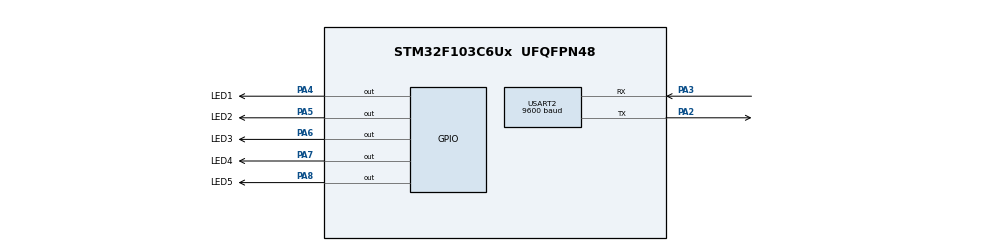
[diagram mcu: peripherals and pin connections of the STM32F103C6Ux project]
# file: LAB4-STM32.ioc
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Mcu.Family=STM32F1
Mcu.Name=STM32F103C6Ux
Mcu.Package=UFQFPN48
NVIC.PriorityGroup=NVIC_PRIORITYGROUP_4
NVIC.TIM2_IRQn=true\:0\:0\:false\:false\:true\:true\:true
NVIC.USART2_IRQn=true\:0\:0\:false\:false\:true\:true\:true
PA2.Mode=Asynchronous
PA2.Signal=USART2_TX
PA3.Mode=Asynchronous
PA3.Signal=USART2_RX
PA4.GPIO_Label=LED1
PA4.Signal=GPIO_Output
PA5.GPIO_Label=LED2
PA5.Signal=GPIO_Output
PA6.GPIO_Label=LED3
PA6.Signal=GPIO_Output
PA7.GPIO_Label=LED4
PA7.Signal=GPIO_Output
PA8.GPIO_Label=LED5
PA8.Signal=GPIO_Output
ProjectManager.HeapSize=0x200
ProjectManager.StackSize=0x400
ProjectManager.TargetToolchain=STM32CubeIDE
RCC.APB1Freq_Value=8000000
RCC.APB2Freq_Value=8000000
TIM2.Period=9
TIM2.Prescaler=7999
USART2.BaudRate=9600
USART2.VirtualMode=VM_ASYNC
VP_SYS_VS_ND.Mode=No_Debug
VP_TIM2_VS_ClockSourceINT.Mode=Internal
board=custom

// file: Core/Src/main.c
/* USER CODE BEGIN Header */
/**
  ******************************************************************************
  * @file           : main.c
  * @brief          : Main program body
  ******************************************************************************
  * @attention
  *
  * <h2><center>&copy; Copyright (c) 2022 STMicroelectronics.
  * All rights reserved.</center></h2>
  *
  * This software component is licensed by ST under BSD 3-Clause license,
  * the "License"; You may not use this file except in compliance with the
  * License. You may obtain a copy of the License at:
  *                        opensource.org/licenses/BSD-3-Clause
  *
  ******************************************************************************
  */
/* USER CODE END Header */
#include "main.h"

/* USER CODE BEGIN Includes */
#include <stdint.h>
#include "global.h"
/* USER CODE END Includes */

TIM_HandleTypeDef htim2;

UART_HandleTypeDef huart2;

void SystemClock_Config(void);
static void MX_TIM2_Init(void);
static void MX_GPIO_Init(void);
static void MX_USART2_UART_Init(void);

/* USER CODE BEGIN 0 */
void led_test_1() {
	HAL_GPIO_TogglePin(GPIOA, LED1_Pin);
}
void led_test_2() {
	HAL_GPIO_TogglePin(GPIOA, LED2_Pin);
}
void led_test_3() {
	HAL_GPIO_TogglePin(GPIOA, LED3_Pin);
}
void led_test_4() {
	HAL_GPIO_TogglePin(GPIOA, LED4_Pin);
}
void led_test_5() {
	HAL_GPIO_TogglePin(GPIOA, LED5_Pin);
}
void HAL_UART_RxCpltCallback(UART_HandleTypeDef *huart) {
	if (huart->Instance == USART2) {
		//uart_init();
	}
}
int TIME = 0;
/* USER CODE END 0 */

int main(void)
{

  /* MCU Configuration--------------------------------------------------------*/

  /* Reset of all peripherals, Initializes the Flash interface and the Systick. */
  HAL_Init();

  /* Configure the system clock */
  SystemClock_Config();

  /* Initialize all configured peripherals */
  MX_TIM2_Init();
  MX_GPIO_Init();
  MX_USART2_UART_Init();
  /* USER CODE BEGIN 2 */
  HAL_TIM_Base_Start_IT(&htim2);
  /* USER CODE END 2 */

  /* Infinite loop */
  /* USER CODE BEGIN WHILE */
  SCH_Init();
  uart_init();
  SCH_Add_Task(led_test_1, 50, 50);
  SCH_Add_Task(led_test_2, 100, 100);
  SCH_Add_Task(led_test_3, 150, 150);
  SCH_Add_Task(led_test_4, 200, 200);
  SCH_Add_Task(led_test_5, 250, 0);	//This is one-shot task
  SCH_Add_Task(get_time, 0, 50);
  SCH_Add_Task(get_time_2, 0, 10);
  TIME = 0;
  while (1)
  {
    /* USER CODE END WHILE */

    /* USER CODE BEGIN 3 */
	  SCH_Dispatch_Tasks();
  }
  /* USER CODE END 3 */
}

void SystemClock_Config(void)
{
  RCC_OscInitTypeDef RCC_OscInitStruct = {0};
  RCC_ClkInitTypeDef RCC_ClkInitStruct = {0};

  /** Initializes the RCC Oscillators according to the specified parameters
  * in the RCC_OscInitTypeDef structure.
  */
  RCC_OscInitStruct.OscillatorType = RCC_OSCILLATORTYPE_HSI;
  RCC_OscInitStruct.HSIState = RCC_HSI_ON;
  RCC_OscInitStruct.HSICalibrationValue = RCC_HSICALIBRATION_DEFAULT;
  RCC_OscInitStruct.PLL.PLLState = RCC_PLL_NONE;
  if (HAL_RCC_OscConfig(&RCC_OscInitStruct) != HAL_OK)
  {
    Error_Handler();
  }
  /** Initializes the CPU, AHB and APB buses clocks
  */
  RCC_ClkInitStruct.ClockType = RCC_CLOCKTYPE_HCLK|RCC_CLOCKTYPE_SYSCLK
                              |RCC_CLOCKTYPE_PCLK1|RCC_CLOCKTYPE_PCLK2;
  RCC_ClkInitStruct.SYSCLKSource = RCC_SYSCLKSOURCE_HSI;
  RCC_ClkInitStruct.AHBCLKDivider = RCC_SYSCLK_DIV1;
  RCC_ClkInitStruct.APB1CLKDivider = RCC_HCLK_DIV1;
  RCC_ClkInitStruct.APB2CLKDivider = RCC_HCLK_DIV1;

  if (HAL_RCC_ClockConfig(&RCC_ClkInitStruct, FLASH_LATENCY_0) != HAL_OK)
  {
    Error_Handler();
  }
}

static void MX_TIM2_Init(void)
{

  TIM_ClockConfigTypeDef sClockSourceConfig = {0};
  TIM_MasterConfigTypeDef sMasterConfig = {0};

  htim2.Instance = TIM2;
  htim2.Init.Prescaler = 7999;
  htim2.Init.CounterMode = TIM_COUNTERMODE_UP;
  htim2.Init.Period = 9;
  htim2.Init.ClockDivision = TIM_CLOCKDIVISION_DIV1;
  htim2.Init.AutoReloadPreload = TIM_AUTORELOAD_PRELOAD_DISABLE;
  if (HAL_TIM_Base_Init(&htim2) != HAL_OK)
  {
    Error_Handler();
  }
  sClockSourceConfig.ClockSource = TIM_CLOCKSOURCE_INTERNAL;
  if (HAL_TIM_ConfigClockSource(&htim2, &sClockSourceConfig) != HAL_OK)
  {
    Error_Handler();
  }
  sMasterConfig.MasterOutputTrigger = TIM_TRGO_RESET;
  sMasterConfig.MasterSlaveMode = TIM_MASTERSLAVEMODE_DISABLE;
  if (HAL_TIMEx_MasterConfigSynchronization(&htim2, &sMasterConfig) != HAL_OK)
  {
    Error_Handler();
  }

}

static void MX_USART2_UART_Init(void)
{

  huart2.Instance = USART2;
  huart2.Init.BaudRate = 9600;
  huart2.Init.WordLength = UART_WORDLENGTH_8B;
  huart2.Init.StopBits = UART_STOPBITS_1;
  huart2.Init.Parity = UART_PARITY_NONE;
  huart2.Init.Mode = UART_MODE_TX_RX;
  huart2.Init.HwFlowCtl = UART_HWCONTROL_NONE;
  huart2.Init.OverSampling = UART_OVERSAMPLING_16;
  if (HAL_UART_Init(&huart2) != HAL_OK)
  {
    Error_Handler();
  }

}

static void MX_GPIO_Init(void)
{
  GPIO_InitTypeDef GPIO_InitStruct = {0};

  /* GPIO Ports Clock Enable */
  __HAL_RCC_GPIOA_CLK_ENABLE();

  /*Configure GPIO pin Output Level */
  HAL_GPIO_WritePin(GPIOA, LED1_Pin|LED2_Pin|LED3_Pin|LED4_Pin
                          |LED5_Pin, GPIO_PIN_RESET);

  /*Configure GPIO pins : LED1_Pin LED2_Pin LED3_Pin LED4_Pin
                           LED5_Pin */
  GPIO_InitStruct.Pin = LED1_Pin|LED2_Pin|LED3_Pin|LED4_Pin
                          |LED5_Pin;
  GPIO_InitStruct.Mode = GPIO_MODE_OUTPUT_PP;
  GPIO_InitStruct.Pull = GPIO_NOPULL;
  GPIO_InitStruct.Speed = GPIO_SPEED_FREQ_LOW;
  HAL_GPIO_Init(GPIOA, &GPIO_InitStruct);

}

/* USER CODE BEGIN 4 */
void HAL_TIM_PeriodElapsedCallback(TIM_HandleTypeDef *htim){
	SCH_Update();
	TIME++;	//To print timestamp
}
/* USER CODE END 4 */

void Error_Handler(void)
{
  __disable_irq();
  while (1)
  {
  }
}

/************************ (C) COPYRIGHT STMicroelectronics *****END OF FILE****/
